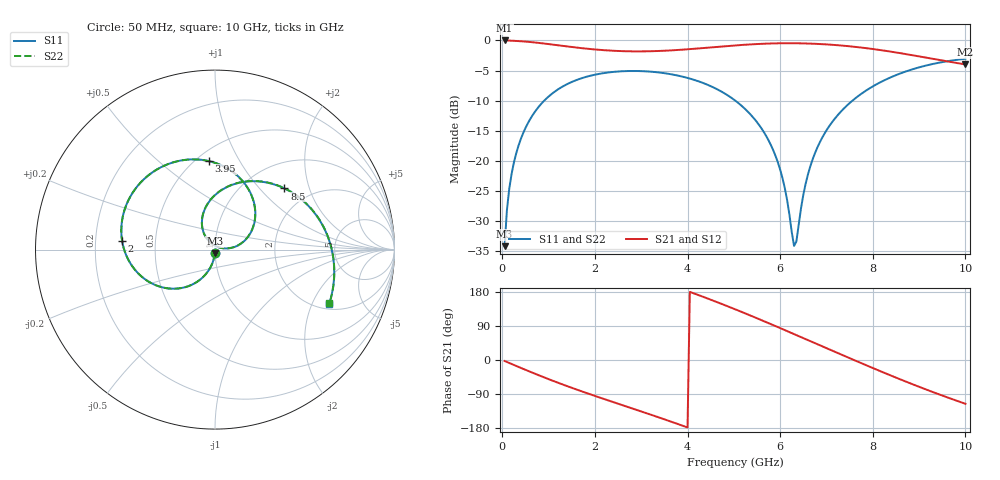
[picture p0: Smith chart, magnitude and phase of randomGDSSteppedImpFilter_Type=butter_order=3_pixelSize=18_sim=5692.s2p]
! freq	dB(S11)	phase(S11)	dB(S12)	phase(S12)
!  dB(S21)	phase(S21)	dB(S22)	phase(S22)
!S-par simulation data
#  GHz  S  DB  R 50
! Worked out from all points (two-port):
!   200 points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, 50 MHz to 10 GHz, reference 50 ohm
!   highest |S21| = -0.01 dB at 50 MHz (marker M1); lowest = -4.0 dB at 10 GHz (marker M2)
!   |S21| within 3 dB of the highest: start of sweep to 9.261 GHz
!   lowest |S11| = -34.1 dB at 50 MHz (marker M3), VSWR 1.04, Z = 49.9 - j1.96 ohm
!   |S11| at or under -10 dB: start of sweep to 904 MHz; 5.034 GHz to 7.559 GHz (2.525 GHz wide, 40.1 % of centre)
!   |S22| runs from -34.1 to -3.0 dB; largest |S21 - S12| = 0
!   S11 on the Smith chart (normalised r, x): 50 MHz: 1.00, -0.04; 2 GHz: 0.32, +0.04; 3.95 GHz: 0.57, +0.75; 8.5 GHz: 1.49, +1.38; 10 GHz: 2.25, -2.70
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0.05  -34.12 -92.7  -0.01 -2.6  -0.01 -2.6  -34.12 -92.7
0.1  -28.12 -95.5  -0.02 -5.3  -0.02 -5.3  -28.12 -95.5
0.2  -22.17 -101.0  -0.05 -10.5  -0.05 -10.5  -22.17 -101.0
0.5  -14.53 -116.5  -0.19 -25.9  -0.19 -25.9  -14.53 -116.5
1.1  -8.67 -145.8  -0.70 -55.2  -0.70 -55.2  -8.67 -145.7
1.75  -6.18 -174.9  -1.31 -84.2  -1.31 -84.2  -6.18 -174.8
2  -5.68 174.6  -1.50 -94.8  -1.50 -94.8  -5.68 174.6
2.65  -5.09 147.9  -1.79 -121.5  -1.79 -121.5  -5.09 148.0
3.4  -5.33 117.3  -1.74 -152.3  -1.74 -152.3  -5.33 117.4
3.95  -6.12 94.0  -1.50 -175.9  -1.50 -175.9  -6.12 94.1
4.5  -7.58 69.6  -1.16 159.2  -1.16 159.2  -7.58 69.8
5.05  -10.09 44.2  -0.82 132.8  -0.82 132.8  -10.09 44.4
5.9  -19.15 7.7  -0.49 89.5  -0.49 89.5  -19.14 8.0
6.1  -24.47 6.1  -0.46 79.0  -0.46 79.0  -24.46 6.5
6.3  -34.08 55.1  -0.46 68.4  -0.46 68.4  -34.00 55.4
6.55  -23.77 126.2  -0.50 55.1  -0.50 55.1  -23.77 126.3
6.7  -19.75 124.9  -0.54 47.2  -0.54 47.2  -19.75 125.1
7.5  -10.39 90.2  -0.97 4.8  -0.97 4.8  -10.39 90.5
8.35  -6.25 48.6  -1.81 -39.0  -1.81 -39.0  -6.25 48.9
8.5  -5.76 41.4  -1.99 -46.5  -1.99 -46.5  -5.76 41.7
9.2  -4.07 8.9  -2.92 -80.1  -2.92 -80.1  -4.07 9.3
10  -3.04 -25.5  -3.98 -115.6  -3.98 -115.6  -3.04 -25.1
